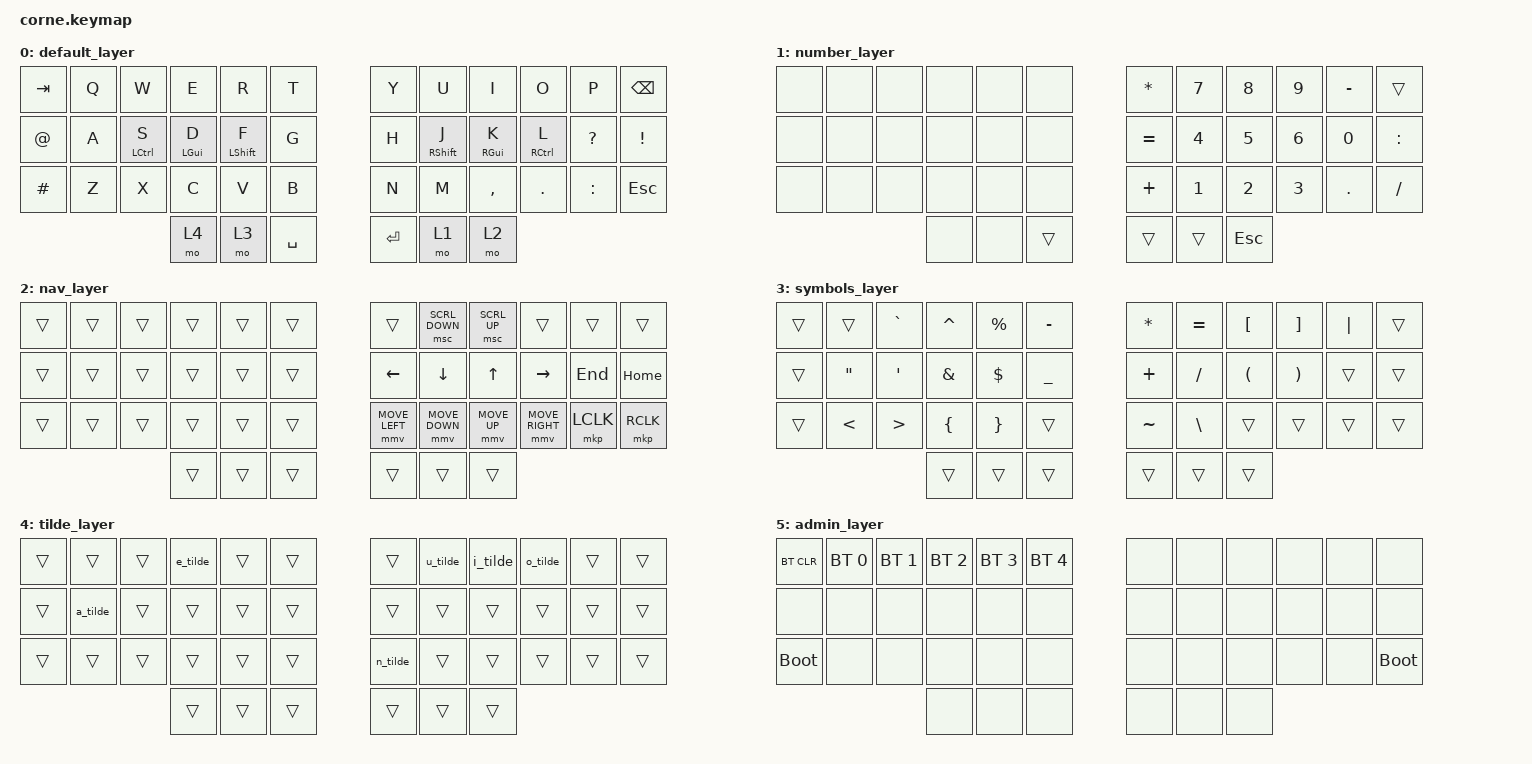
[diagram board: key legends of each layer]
#include <behaviors.dtsi>
#include <dt-bindings/zmk/bt.h>
#include <dt-bindings/zmk/keys.h>
#include <dt-bindings/zmk/pointing.h>

/ {
    behaviors {
        hml: home_row_mod_left {
            compatible = "zmk,behavior-hold-tap";
            #binding-cells = <2>;
            flavor = "balanced";
            require-prior-idle-ms = <150>;
            tapping-term-ms = <280>;
            quick-tap-ms = <175>;
            bindings = <&kp>, <&kp>;

            hold-trigger-key-positions = <0 17 16 15 13 14 1 2 3 4 5 12 24 25 26 27 28 29 36 37 38>; // List of keys on the right side of the keyboard
            hold-trigger-on-release;
        };

        hmr: home_row_mod_right {
            compatible = "zmk,behavior-hold-tap";
            #binding-cells = <2>;
            flavor = "balanced";
            require-prior-idle-ms = <150>;
            tapping-term-ms = <280>;
            quick-tap-ms = <175>;
            bindings = <&kp>, <&kp>;

            hold-trigger-key-positions = <6 7 8 9 10 11 18 19 20 21 22 23 30 31 32 33 34 35 39 40 41>; // List of keys on the left side of the keyboard
            hold-trigger-on-release;
        };

        i_tilde_b: i_tilde_b {
            compatible = "zmk,behavior-tap-dance";
            label = "I_TILDE_B";
            #binding-cells = <0>;
            bindings = <&kp I>, <&i_tilde>;

            tapping-term-ms = <250>;
        };

        a_tilde_b: a_tilde_b {
            compatible = "zmk,behavior-tap-dance";
            label = "A_TILDE_B";
            #binding-cells = <0>;
            bindings = <&kp A>, <&a_tilde>;

            tapping-term-ms = <250>;
        };

        e_tilde_b: e_tilde_b {
            compatible = "zmk,behavior-tap-dance";
            label = "E_TILDE_B";
            #binding-cells = <0>;
            bindings = <&kp E>, <&e_tilde>;

            tapping-term-ms = <250>;
        };

        o_tilde_b: o_tilde_b {
            compatible = "zmk,behavior-tap-dance";
            label = "O_TILDE_B";
            #binding-cells = <0>;
            bindings = <&kp O>, <&o_tilde>;

            tapping-term-ms = <250>;
        };

        u_tilde_b: u_tilde_b {
            compatible = "zmk,behavior-tap-dance";
            label = "U_TILDE_B";
            #binding-cells = <0>;
            bindings = <&kp U>, <&u_tilde>;

            tapping-term-ms = <250>;
        };

        n_tilde_b: n_tilde_b {
            compatible = "zmk,behavior-tap-dance";
            label = "N_TILDE_B";
            #binding-cells = <0>;
            bindings = <&kp N>, <&n_tilde>;

            tapping-term-ms = <250>;
        };
    };

    combos {
        compatible = "zmk,combos";

        OpenParenthesis {
            bindings = <&kp LEFT_PARENTHESIS>;
            key-positions = <6 7>;
        };

        OpenBrace {
            bindings = <&kp LEFT_BRACE>;
            key-positions = <18 19>;
        };

        OpenBracket {
            bindings = <&kp LEFT_BRACKET>;
            key-positions = <30 31>;
        };

        CloseParenthasis {
            bindings = <&kp RIGHT_PARENTHESIS>;
            key-positions = <8 7>;
        };

        CloseBrace {
            bindings = <&kp RIGHT_BRACE>;
            key-positions = <19 20>;
        };

        CloseBracket {
            bindings = <&kp RIGHT_BRACKET>;
            key-positions = <31 32>;
        };

        admin_layer_tog {
            bindings = <&sl 5>;
            key-positions = <41 36>;
        };

        grater_than {
            bindings = <&kp GREATER_THAN>;
            key-positions = <25 26>;
        };

        less_than {
            bindings = <&kp LESS_THAN>;
            key-positions = <24 25>;
        };

        semicolon {
            bindings = <&kp SEMICOLON>;
            key-positions = <32 33>;
        };

        underscore {
            bindings = <&kp UNDERSCORE>;
            key-positions = <21 22>;
        };

        dash {
            bindings = <&kp MINUS>;
            key-positions = <22 23>;
        };

        double_quotes {
            bindings = <&kp DOUBLE_QUOTES>;
            key-positions = <14 15>;
        };

        pipe {
            bindings = <&kp PIPE>;
            key-positions = <8 20>;
        };

        slash {
            bindings = <&kp SLASH>;
            key-positions = <19 8>;
        };
    };

    macros {
        a_tilde: a_tilde {
            compatible = "zmk,behavior-macro";
            #binding-cells = <0>;
            bindings = <&kp RA(E) &kp A>;
            label = "A_TILDE";
        };

        e_tilde: e_tilde {
            compatible = "zmk,behavior-macro";
            #binding-cells = <0>;
            bindings = <&kp RA(E) &kp E>;
            label = "E_TILDE";
        };

        i_tilde: i_tilde {
            compatible = "zmk,behavior-macro";
            #binding-cells = <0>;
            bindings = <&kp RA(E) &kp I>;
            label = "I_TILDE";
        };

        o_tilde: o_tilde {
            compatible = "zmk,behavior-macro";
            #binding-cells = <0>;
            bindings = <&kp RA(E) &kp O>;
            label = "O_TILDE";
        };

        u_tilde: u_tilde {
            compatible = "zmk,behavior-macro";
            #binding-cells = <0>;
            bindings = <&kp RA(E) &kp U>;
            label = "U_TILDE";
        };

        n_tilde: n_tilde {
            compatible = "zmk,behavior-macro";
            #binding-cells = <0>;
            bindings = <&kp RA(N) &kp N>;
            label = "N_TILDE";
        };
    };

    keymap {
        compatible = "zmk,keymap";

        default_layer {
            bindings = <
&kp TAB   &kp Q  &kp W         &kp E            &kp R              &kp T        &kp Y      &kp U               &kp I             &kp O         &kp P         &kp BSPC
&kp AT    &kp A  &hml LCTRL S  &hml LEFT_GUI D  &hml LEFT_SHIFT F  &kp G        &kp H      &hmr RIGHT_SHIFT J  &hmr RIGHT_GUI K  &hmr RCTRL L  &kp QUESTION  &kp EXCL
&kp HASH  &kp Z  &kp X         &kp C            &kp V              &kp B        &kp N      &kp M               &kp COMMA         &kp DOT       &kp COLON     &kp ESC
                               &mo 4            &mo 3              &kp SPACE    &kp ENTER  &mo 1               &mo 2
            >;
        };

        number_layer {
            bindings = <
&none  &none  &none  &none  &none  &none     &kp STAR   &kp N7  &kp N8   &kp N9  &kp MINUS  &trans
&none  &none  &none  &none  &none  &none     &kp EQUAL  &kp N4  &kp N5   &kp N6  &kp N0     &kp COLON
&none  &none  &none  &none  &none  &none     &kp PLUS   &kp N1  &kp N2   &kp N3  &kp DOT    &kp SLASH
                     &none  &none  &trans    &trans     &trans  &kp ESC
            >;
        };

        nav_layer {
            bindings = <
&trans  &trans  &trans  &trans  &trans  &trans    &trans          &msc SCRL_DOWN  &msc SCRL_UP  &trans           &trans     &trans
&trans  &trans  &trans  &trans  &trans  &trans    &kp LEFT        &kp DOWN        &kp UP        &kp RIGHT        &kp END    &kp HOME
&trans  &trans  &trans  &trans  &trans  &trans    &mmv MOVE_LEFT  &mmv MOVE_DOWN  &mmv MOVE_UP  &mmv MOVE_RIGHT  &mkp LCLK  &mkp RCLK
                        &trans  &trans  &trans    &trans          &trans          &trans
            >;
        };

        symbols_layer {
            bindings = <
&trans  &trans             &kp GRAVE         &kp CARET       &kp PERCENT      &kp MINUS    &kp STAR   &kp EQUAL      &kp LEFT_BRACKET      &kp RIGHT_BRACKET      &kp PIPE  &trans
&trans  &kp DOUBLE_QUOTES  &kp SINGLE_QUOTE  &kp AMPS        &kp DOLLAR       &kp UNDER    &kp PLUS   &kp SLASH      &kp LEFT_PARENTHESIS  &kp RIGHT_PARENTHESIS  &trans    &trans
&trans  &kp LESS_THAN      &kp GREATER_THAN  &kp LEFT_BRACE  &kp RIGHT_BRACE  &trans       &kp TILDE  &kp BACKSLASH  &trans                &trans                 &trans    &trans
                                             &trans          &trans           &trans       &trans     &trans         &trans
            >;
        };

        tilde_layer {
            bindings = <
&trans  &trans    &trans  &e_tilde  &trans  &trans    &trans    &u_tilde  &i_tilde  &o_tilde  &trans  &trans
&trans  &a_tilde  &trans  &trans    &trans  &trans    &trans    &trans    &trans    &trans    &trans  &trans
&trans  &trans    &trans  &trans    &trans  &trans    &n_tilde  &trans    &trans    &trans    &trans  &trans
                          &trans    &trans  &trans    &trans    &trans    &trans
            >;
        };

        admin_layer {
            bindings = <
&bt BT_CLR   &bt BT_SEL 0  &bt BT_SEL 1  &bt BT_SEL 2  &bt BT_SEL 3  &bt BT_SEL 4    &none  &none  &none  &none  &none  &none
&none        &none         &none         &none         &none         &none           &none  &none  &none  &none  &none  &none
&bootloader  &none         &none         &none         &none         &none           &none  &none  &none  &none  &none  &bootloader
                                         &none         &none         &none           &none  &none  &none
            >;
        };
    };
};

